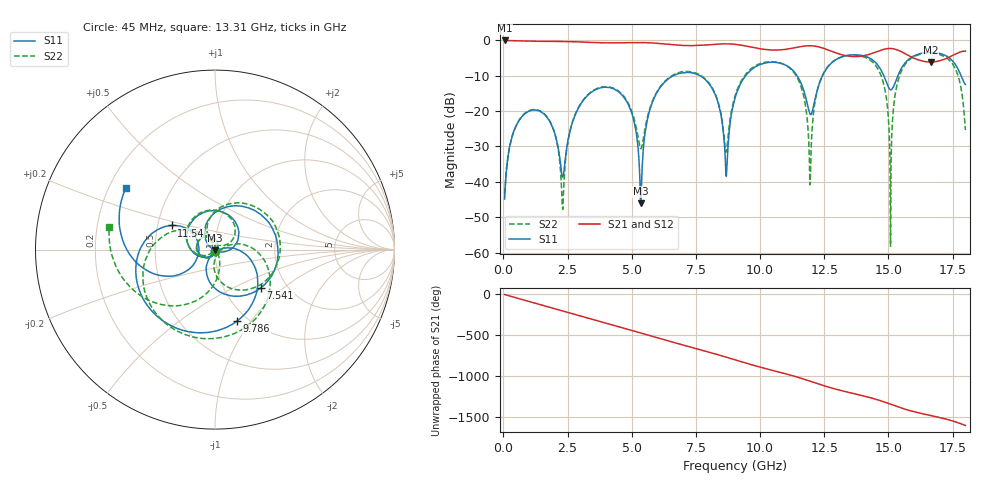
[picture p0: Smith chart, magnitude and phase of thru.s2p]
!Agilent Technologies,E8364A,US41440284,A.06.04.32
!Agilent E8364A: A.06.04.32
!Date: Friday, December 06, 2019 09:56:05
!Correction: S11(Full 2 Port(1,2)) S21(Full 2 Port(1,2)) S12(Full 2 Port(1,2)) S22(Full 2 Port(1,2))
!S2P File: Measurements: S11, S21, S12, S22:
# Hz S  MA  R 50
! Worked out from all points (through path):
!   801 points, 45 MHz to 18 GHz, reference 50 ohm
!   highest |S21| = 0.00 dB at 45 MHz (marker M1); lowest = -6.1 dB at 16.65 GHz (marker M2)
!   group delay of S21, straight-line fit = 248 ps
!   lowest |S11| = -46.1 dB at 5.342 GHz (marker M3), VSWR 1.01, Z = 50.1 - j0.491 ohm
!   |S11| at or under -10 dB: start of sweep to 6.609 GHz; 7.663 GHz to 9.43 GHz (1.767 GHz wide, 20.7 % of centre); 11.44 GHz to 12.43 GHz (985.8 MHz wide, 8.26 % of centre)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
!   |S22| runs from -58.2 to -3.6 dB; largest |S21 - S12| = 0.0064
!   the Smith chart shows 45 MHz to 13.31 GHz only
!   S11 on the Smith chart (normalised r, x): 45 MHz: 1.00, -0.01; 7.541 GHz: 1.48, -0.71; 9.786 GHz: 0.89, -0.86; 11.54 GHz: 0.59, +0.17; 13.31 GHz: 0.27, +0.29
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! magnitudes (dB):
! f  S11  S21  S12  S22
! 45 MHz  -44.9  0.0  0.0  -43.3
! 426.5 MHz  -25.2  -0.1  -0.1  -25.3
! 1.212 GHz  -19.7  -0.2  -0.2  -19.5
! 2.312 GHz  -38.7  -0.3  -0.3  -47.8
! 3.052 GHz  -17.5  -0.4  -0.4  -17.4
! 4.646 GHz  -15.6  -0.7  -0.6  -15.4
! 5.342 GHz  -46.1  -0.6  -0.6  -30.6
! 6.037 GHz  -14.0  -0.8  -0.8  -13.8
! 7.541 GHz  -9.6  -1.4  -1.4  -9.3
! 8.686 GHz  -38.4  -0.9  -1.0  -31.5
! 9.023 GHz  -16.3  -1.1  -1.1  -15.8
! 9.786 GHz  -7.6  -2.1  -2.1  -7.3
! 11.54 GHz  -11.2  -1.8  -1.8  -11.9
! 12.03 GHz  -20.2  -1.5  -1.5  -24.7
! 12.39 GHz  -10.7  -2.0  -2.0  -10.5
! 13.31 GHz  -4.4  -4.3  -4.3  -4.4
! 14.61 GHz  -7.2  -3.0  -3.0  -8.3
! 15.01 GHz  -13.4  -2.3  -2.3  -23.8
! 15.53 GHz  -7.6  -3.3  -3.3  -8.3
! 16.65 GHz  -3.4  -6.1  -6.1  -3.6
! 17.6 GHz  -6.7  -3.9  -4.0  -7.8
! 18 GHz  -12.4  -3.0  -3.1  -25.3
